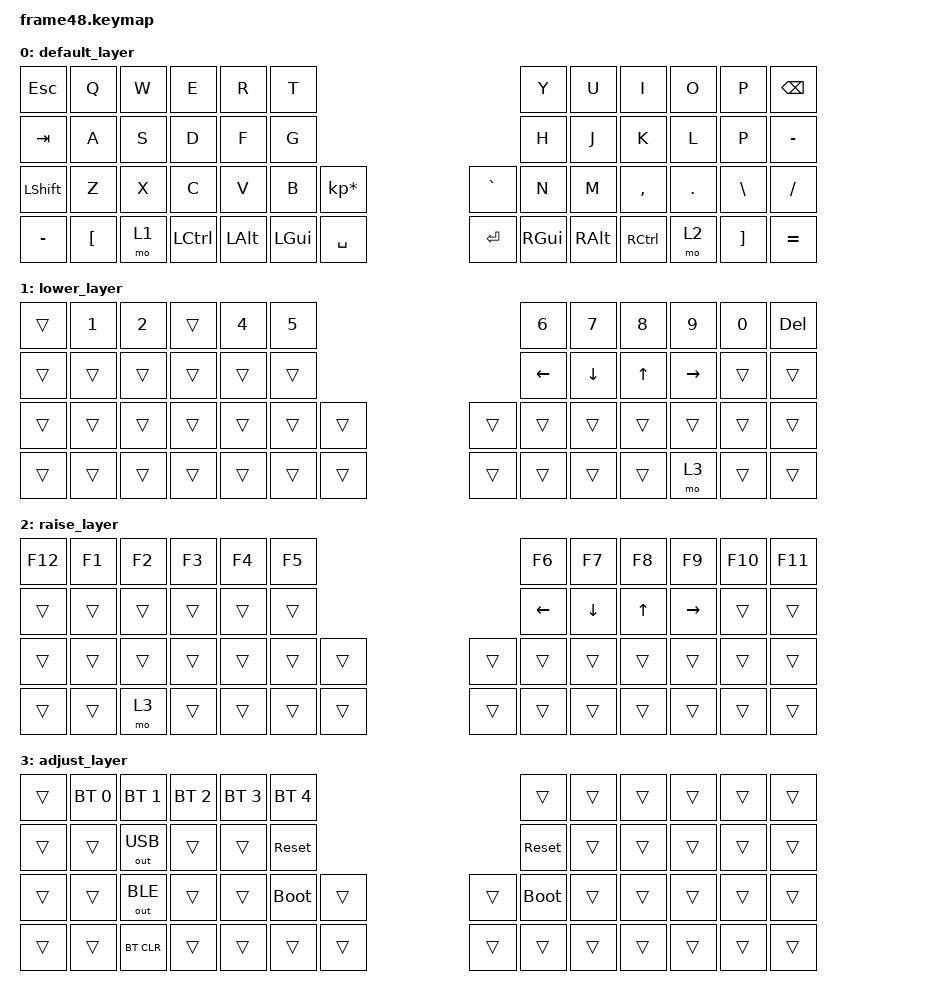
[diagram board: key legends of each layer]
/*
 * Copyright (c) 2021 The ZMK Contributors
 *
 * SPDX-License-Identifier: MIT
 */

#include <behaviors.dtsi>
#include <dt-bindings/zmk/keys.h>
#include <dt-bindings/zmk/bt.h>
#include <dt-bindings/zmk/ext_power.h>
#include <dt-bindings/zmk/outputs.h>

/ {
    keymap {
        compatible =  "zmk,keymap" ;

        default_layer {
            bindings = <
   &kp ESC   &kp Q    &kp W    &kp E  &kp R    &kp T                                             &kp Y     &kp U    &kp I     &kp O    &kp P    &kp BSPC
   &kp TAB   &kp A    &kp S    &kp D  &kp F    &kp G                                             &kp H     &kp J    &kp K     &kp L    &kp P    &kp MINUS
   &kp LSHFT &kp Z    &kp X    &kp C  &kp V    &kp B  &kp KP_MULTIPLY                 &kp GRAVE  &kp N     &kp M    &kp COMMA &kp DOT  &kp BSLH &kp FSLH
   &kp MINUS &kp LBKT &mo 1    &kp LCTRL &kp LALT  &kp LGUI  &kp SPACE                &kp RET    &kp RGUI  &kp RALT &kp RCTRL &mo 2    &kp RBKT &kp EQUAL
            >;
        };

        lower_layer {
            bindings = <
   &trans    &kp N1 &kp N2   &trans &kp N4   &kp N5                                              &kp N6    &kp N7   &kp N8    &kp N9   &kp N0    &kp DEL
   &trans    &trans &trans   &trans &trans   &trans                                              &kp LEFT  &kp DOWN &kp UP    &kp RIGHT &trans   &trans
   &trans    &trans &trans   &trans &trans   &trans  &trans                           &trans     &trans    &trans   &trans    &trans   &trans    &trans                 
   &trans    &trans &trans   &trans &trans   &trans  &trans                           &trans     &trans    &trans   &trans    &mo 3   &trans     &trans                 
            >;
        };

        raise_layer {
            bindings = <
   &kp F12   &kp F1 &kp F2   &kp F3 &kp F4   &kp F5                                              &kp F6    &kp F7   &kp F8    &kp F9    &kp F10   &kp F11
   &trans    &trans &trans   &trans &trans   &trans                                              &kp LEFT  &kp DOWN &kp UP    &kp RIGHT &trans    &trans
   &trans    &trans &trans   &trans &trans   &trans  &trans                           &trans     &trans    &trans   &trans    &trans    &trans    &trans                 
   &trans    &trans &mo 3    &trans &trans   &trans  &trans                           &trans     &trans    &trans   &trans    &trans    &trans    &trans                 
            >;
        };

        adjust_layer {
            bindings = <
   &trans &bt BT_SEL 0 &bt BT_SEL 1 &bt BT_SEL 2 &bt BT_SEL 3 &bt BT_SEL 4                       &trans    &trans   &trans    &trans    &trans    &trans                 
   &trans    &trans &out OUT_USB &trans &trans   &sys_reset                                      &sys_reset &trans  &trans    &trans    &trans    &trans                 
   &trans    &trans &out OUT_BLE &trans &trans   &bootloader &trans                   &trans     &bootloader &trans &trans    &trans    &trans    &trans                 
   &trans    &trans &bt BT_CLR   &trans &trans   &trans  &trans                       &trans     &trans    &trans   &trans    &trans    &trans    &trans                 
            >;
        };
    };
};
